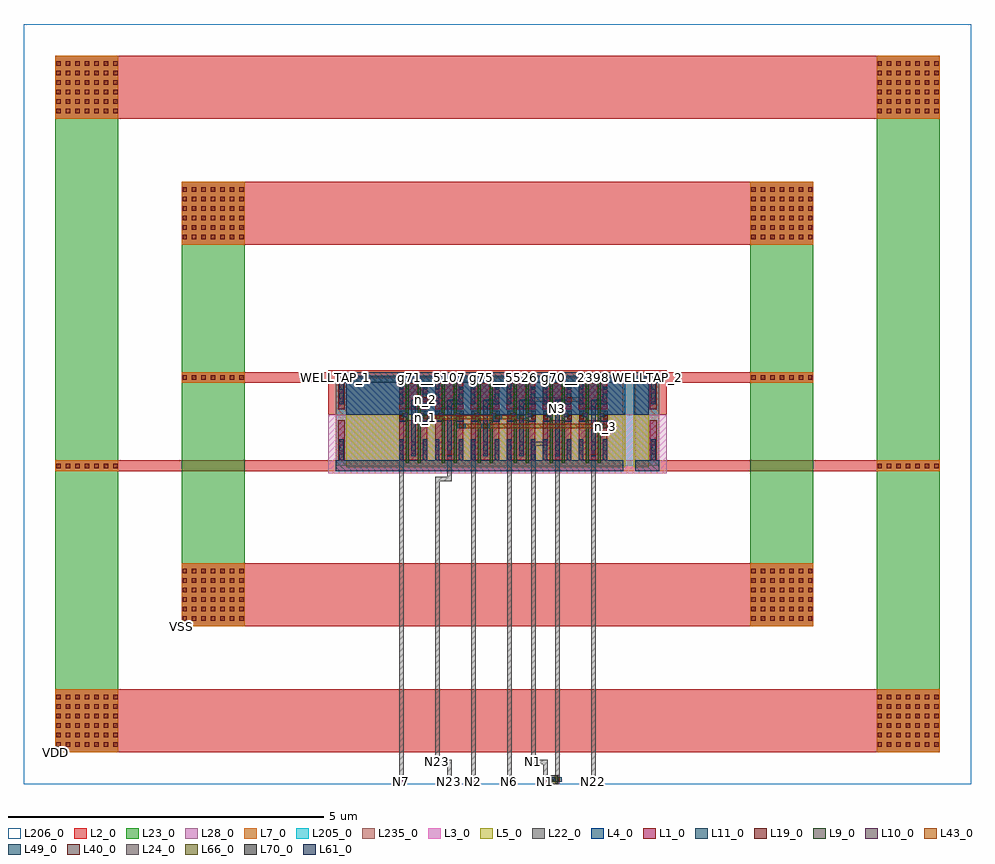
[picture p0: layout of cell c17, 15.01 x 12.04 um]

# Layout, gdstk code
import gdstk
lib = gdstk.Library(unit=1e-6, precision=1e-10)
def R(c, l, rs):  # rectangles x0, y0, x1, y1
    for r in rs: c.add(gdstk.rectangle(r[:2], r[2:], *l))
def A(c, l, x, y, w, h, nx, ny, dx, dy):  # array of equal rectangles
    R(c, l, [(x+i*dx, y+j*dy, x+i*dx+w, y+j*dy+h) for i in range(nx) for j in range(ny)])
def P(c, l, *ps):  # polygons
    for p in ps: c.add(gdstk.Polygon(p, *l))
L1_0 = (1, 0)
L2_0 = (2, 0)
L3_0 = (3, 0)
L4_0 = (4, 0)
L5_0 = (5, 0)
L7_0 = (7, 0)
L9_0 = (9, 0)
L10_0 = (10, 0)
L11_0 = (11, 0)
L19_0 = (19, 0)
L22_0 = (22, 0)
L23_0 = (23, 0)
L24_0 = (24, 0)
L28_0 = (28, 0)
L40_0 = (40, 0)
L43_0 = (43, 0)
L49_0 = (49, 0)
L61_0 = (61, 0)
L66_0 = (66, 0)
L70_0 = (70, 0)
L205_0 = (205, 0)
L206_0 = (206, 0)
L235_0 = (235, 0)

nand2_x1 = lib.new_cell('NAND2_X1')
R(nand2_x1, L1_0, [(0.055,0.09,0.505,0.505), (0.055,0.68,0.505,1.31)])
R(nand2_x1, L2_0, [(-0.115,-0.115,0.685,0.59)])
R(nand2_x1, L3_0, [(-0.115,0.59,0.685,1.515)])
R(nand2_x1, L4_0, [(-0.025,-0.025,0.595,0.59)])
R(nand2_x1, L5_0, [(-0.025,0.59,0.595,1.425)])
P(nand2_x1, L9_0, [(0.16,0.04),(0.16,0.555),(0.115,0.555),(0.115,0.63),(0.16,0.63),(0.16,1.36),(0.21,1.36),(0.21,0.04)],
  [(0.35,0.04),(0.35,1.36),(0.4,1.36),(0.4,0.63),(0.455,0.63),(0.455,0.555),(0.4,0.555),(0.4,0.04)])
R(nand2_x1, L10_0, [(0.06,0.185,0.125,0.25), (0.435,0.185,0.5,0.25), (0.06,0.325,0.125,0.39), (0.435,0.325,0.5,0.39), (0.12,0.56,0.185,0.625), (0.385,0.56,0.45,0.625), (0.06,1.01,0.125,1.075), (0.25,1.01,0.315,1.075), (0.435,1.01,0.5,1.075), (0.06,1.15,0.125,1.215), (0.25,1.15,0.315,1.215), (0.435,1.15,0.5,1.215)])
R(nand2_x1, L11_0, [(0.06,0.525,0.185,0.7), (0.385,0.525,0.51,0.7)])
P(nand2_x1, L11_0, [(0.43,0.15),(0.43,0.355),(0.25,0.355),(0.25,1.25),(0.32,1.25),(0.32,0.425),(0.5,0.425),(0.5,0.15)],
  [(0,-0.085),(0,0.085),(0.055,0.085),(0.055,0.425),(0.125,0.425),(0.125,0.085),(0.57,0.085),(0.57,-0.085)],
  [(0.055,0.975),(0.055,1.315),(0,1.315),(0,1.485),(0.57,1.485),(0.57,1.315),(0.5,1.315),(0.5,0.975),(0.43,0.975),(0.43,1.315),(0.125,1.315),(0.125,0.975)])
R(nand2_x1, L235_0, [(0,0,0.57,1.4)])
nand2_x1.add(gdstk.Label('A1', (0.475,0.63), layer=11, texttype=0))
nand2_x1.add(gdstk.Label('A2', (0.095,0.63), layer=11, texttype=0))
nand2_x1.add(gdstk.Label('VDD', (0.285,1.485), layer=11, texttype=0))
nand2_x1.add(gdstk.Label('VSS', (0.285,-0.085), layer=11, texttype=0))
nand2_x1.add(gdstk.Label('ZN', (0.285,0.49), layer=11, texttype=0))
nand2_x1.add(gdstk.Label('& Vendor Nangate Inc', (0,0), layer=63, texttype=63))
nand2_x1.add(gdstk.Label('& Product Open Cell Library', (0,0), layer=63, texttype=63))
nand2_x1.add(gdstk.Label('& Version 2010_12', (0,0), layer=63, texttype=63))
nand2_x1.add(gdstk.Label('& Instance NAND2_X1', (0,0), layer=63, texttype=63))

tapcell_x1 = lib.new_cell('TAPCELL_X1')
R(tapcell_x1, L1_0, [(0.04,0.09,0.145,0.505), (0.04,0.68,0.145,1.31)])
R(tapcell_x1, L2_0, [(-0.115,-0.115,0.305,0.59)])
R(tapcell_x1, L3_0, [(-0.115,0.59,0.305,1.515)])
R(tapcell_x1, L10_0, [(0.06,0.185,0.125,0.25), (0.06,0.325,0.125,0.39), (0.06,1.01,0.125,1.075), (0.06,1.15,0.125,1.215)])
P(tapcell_x1, L11_0, [(0,-0.085),(0,0.085),(0.06,0.085),(0.06,0.425),(0.13,0.425),(0.13,0.085),(0.19,0.085),(0.19,-0.085)],
  [(0.06,0.975),(0.06,1.315),(0,1.315),(0,1.485),(0.19,1.485),(0.19,1.315),(0.13,1.315),(0.13,0.975)])
R(tapcell_x1, L235_0, [(0,0,0.19,1.4)])
tapcell_x1.add(gdstk.Label('VDD', (0.19,1.485), layer=11, texttype=0))
tapcell_x1.add(gdstk.Label('VSS', (0.19,-0.085), layer=11, texttype=0))
tapcell_x1.add(gdstk.Label('& Vendor Nangate Inc', (0,0), layer=63, texttype=63))
tapcell_x1.add(gdstk.Label('& Product Open Cell Library', (0,0), layer=63, texttype=63))
tapcell_x1.add(gdstk.Label('& Version 2010_12', (0,0), layer=63, texttype=63))
tapcell_x1.add(gdstk.Label('& Instance TAPCELL_X1', (0,0), layer=63, texttype=63))

fillcell_x4 = lib.new_cell('FILLCELL_X4')
R(fillcell_x4, L2_0, [(-0.115,-0.115,0.875,0.59)])
R(fillcell_x4, L3_0, [(-0.115,0.59,0.875,1.515)])
R(fillcell_x4, L4_0, [(-0.025,-0.025,0.785,0.59)])
R(fillcell_x4, L5_0, [(-0.025,0.59,0.785,1.425)])
R(fillcell_x4, L11_0, [(0,-0.085,0.76,0.085), (0,1.315,0.76,1.485)])
R(fillcell_x4, L235_0, [(0,0,0.76,1.4)])
fillcell_x4.add(gdstk.Label('VDD', (0.38,1.485), layer=11, texttype=0))
fillcell_x4.add(gdstk.Label('VSS', (0.38,-0.085), layer=11, texttype=0))
fillcell_x4.add(gdstk.Label('& Vendor Nangate Inc', (0,0), layer=63, texttype=63))
fillcell_x4.add(gdstk.Label('& Product Open Cell Library', (0,0), layer=63, texttype=63))
fillcell_x4.add(gdstk.Label('& Version 2010_12', (0,0), layer=63, texttype=63))
fillcell_x4.add(gdstk.Label('& Instance FILLCELL_X4', (0,0), layer=63, texttype=63))

fillcell_x2 = lib.new_cell('FILLCELL_X2')
R(fillcell_x2, L2_0, [(-0.115,-0.115,0.305,0.59)])
R(fillcell_x2, L3_0, [(-0.115,0.59,0.305,1.515)])
R(fillcell_x2, L4_0, [(-0.025,-0.025,0.215,0.59)])
R(fillcell_x2, L5_0, [(-0.025,0.59,0.215,1.425)])
R(fillcell_x2, L11_0, [(0,-0.085,0.19,0.085), (0,1.315,0.19,1.485)])
R(fillcell_x2, L235_0, [(0,0,0.19,1.4)])
fillcell_x2.add(gdstk.Label('VDD', (0.095,1.485), layer=11, texttype=0))
fillcell_x2.add(gdstk.Label('VSS', (0.095,-0.085), layer=11, texttype=0))
fillcell_x2.add(gdstk.Label('& Vendor Nangate Inc', (0,0), layer=63, texttype=63))
fillcell_x2.add(gdstk.Label('& Product Open Cell Library', (0,0), layer=63, texttype=63))
fillcell_x2.add(gdstk.Label('& Version 2010_12', (0,0), layer=63, texttype=63))
fillcell_x2.add(gdstk.Label('& Instance FILLCELL_X2', (0,0), layer=63, texttype=63))

fillcell_x1 = lib.new_cell('FILLCELL_X1')
R(fillcell_x1, L2_0, [(-0.115,-0.115,0.305,0.59)])
R(fillcell_x1, L3_0, [(-0.115,0.59,0.305,1.515)])
R(fillcell_x1, L4_0, [(-0.025,-0.025,0.215,0.59)])
R(fillcell_x1, L5_0, [(-0.025,0.59,0.215,1.425)])
R(fillcell_x1, L11_0, [(0,-0.085,0.19,0.085), (0,1.315,0.19,1.485)])
R(fillcell_x1, L235_0, [(0,0,0.19,1.4)])
fillcell_x1.add(gdstk.Label('VDD', (0.095,1.485), layer=11, texttype=0))
fillcell_x1.add(gdstk.Label('VSS', (0.095,-0.085), layer=11, texttype=0))
fillcell_x1.add(gdstk.Label('& Vendor Nangate Inc', (0,0), layer=63, texttype=63))
fillcell_x1.add(gdstk.Label('& Product Open Cell Library', (0,0), layer=63, texttype=63))
fillcell_x1.add(gdstk.Label('& Version 2010_12', (0,0), layer=63, texttype=63))
fillcell_x1.add(gdstk.Label('& Instance FILLCELL_X1', (0,0), layer=63, texttype=63))

via1_7 = lib.new_cell('via1_7')
R(via1_7, L7_0, [(-0.07,-0.035,0.07,0.035)])
R(via1_7, L19_0, [(-0.035,-0.035,0.035,0.035)])
R(via1_7, L28_0, [(-0.035,-0.07,0.035,0.07)])

via1_4 = lib.new_cell('via1_4')
R(via1_4, L7_0, [(-0.035,-0.07,0.035,0.07)])
R(via1_4, L19_0, [(-0.035,-0.035,0.035,0.035)])
R(via1_4, L28_0, [(-0.035,-0.07,0.035,0.07)])

via3_2 = lib.new_cell('via3_2')
R(via3_2, L49_0, [(-0.07,-0.035,0.07,0.035)])
R(via3_2, L61_0, [(-0.035,-0.035,0.035,0.035)])
R(via3_2, L70_0, [(-0.07,-0.07,0.07,0.07)])

via2_5 = lib.new_cell('via2_5')
R(via2_5, L28_0, [(-0.035,-0.07,0.035,0.07)])
R(via2_5, L40_0, [(-0.035,-0.035,0.035,0.035)])
R(via2_5, L49_0, [(-0.07,-0.035,0.07,0.035)])

via1_8 = lib.new_cell('via1_8')
R(via1_8, L7_0, [(-0.07,-0.035,0.07,0.035)])
R(via1_8, L19_0, [(-0.035,-0.035,0.035,0.035)])
R(via1_8, L28_0, [(-0.07,-0.035,0.07,0.035)])

c17_via0 = lib.new_cell('c17_VIA0')
R(c17_via0, L7_0, [(-0.5,-0.5,0.5,0.5)])
A(c17_via0, L19_0, -0.485, -0.41, 0.07, 0.07, 7, 6, 0.15, 0.15)
R(c17_via0, L28_0, [(-0.5,-0.5,0.5,0.5)])

c17_via1 = lib.new_cell('c17_VIA1')
R(c17_via1, L7_0, [(-0.5,-0.085,0.5,0.085)])
A(c17_via1, L19_0, -0.485, -0.035, 0.07, 0.07, 7, 1, 0.15, 0)
R(c17_via1, L28_0, [(-0.5,-0.085,0.5,0.085)])

c17 = lib.new_cell('c17')
R(c17, L2_0, [(0.5,0.5,14.51,1.5), (2.5,2.5,12.51,3.5), (0.5,4.955,4.94,5.125), (4.94,4.955,10.07,5.125), (10.07,4.955,14.51,5.125), (2.5,6.355,4.94,6.525), (4.94,6.355,10.07,6.525), (10.07,6.355,12.51,6.525), (2.5,8.54,12.51,9.54), (0.5,10.54,14.51,11.54)])
R(c17, L23_0, [(0.5,0.5,1.5,11.54), (13.51,0.5,14.51,11.54), (2.5,2.5,3.5,9.54), (11.51,2.5,12.51,9.54)])
A(c17, L24_0, 7.09, 0, 0.07, 0.07, 3, 1, 0.57, 0)
R(c17, L24_0, [(5.95,0,6.02,0.07), (6.71,0,6.78,0.07), (8.99,0,9.06,0.07)])
R(c17, L66_0, [(8.325,0,8.465,0.14)])
A(c17, L205_0, 5.89, 5.04, 0.57, 1.4, 6, 1, 0.57, 0)
R(c17, L205_0, [(4.94,5.04,5.13,6.44), (5.13,5.04,5.89,6.44), (9.31,5.04,9.69,6.44), (9.69,5.04,9.88,6.44), (9.88,5.04,10.07,6.44)])
R(c17, L206_0, [(0,0,15.01,12.04)])
c17.add(gdstk.FlexPath([(8.075,0.35),(8.075,5.39)], 0.07, ends="extended", simple_path=True, layer=22, datatype=0))  # L22_0
c17.add(gdstk.FlexPath([(8.075,0.35),(8.265,0.35)], 0.07, ends="extended", simple_path=True, layer=22, datatype=0))  # L22_0
c17.add(gdstk.FlexPath([(8.075,5.39),(8.265,5.39)], 0.07, ends="extended", simple_path=True, layer=22, datatype=0))  # L22_0
c17.add(gdstk.FlexPath([(8.265,0.035),(8.265,0.35)], 0.07, ends=(0, 0.035), simple_path=True, layer=22, datatype=0))  # L22_0
c17.add(gdstk.FlexPath([(8.265,5.39),(8.265,5.81)], 0.07, ends="extended", simple_path=True, layer=22, datatype=0))  # L22_0
c17.add(gdstk.FlexPath([(7.125,0.035),(7.125,5.81)], 0.07, ends=(0, 0.035), simple_path=True, layer=22, datatype=0))  # L22_0
c17.add(gdstk.FlexPath([(8.455,5.95),(8.645,5.95)], 0.07, ends="extended", simple_path=True, layer=22, datatype=0))  # L22_0
c17.add(gdstk.FlexPath([(8.455,0.07),(8.455,5.95)], 0.07, ends="extended", simple_path=True, layer=22, datatype=0))  # L22_0
c17.add(gdstk.FlexPath([(8.395,0.07),(8.455,0.07)], 0.07, ends="extended", simple_path=True, layer=43, datatype=0))  # L43_0
c17.add(gdstk.FlexPath([(8.075,5.81),(8.075,6.09)], 0.07, ends="extended", simple_path=True, layer=22, datatype=0))  # L22_0
c17.add(gdstk.FlexPath([(8.075,6.09),(8.455,6.09)], 0.07, ends="extended", simple_path=True, layer=22, datatype=0))  # L22_0
c17.add(gdstk.FlexPath([(8.455,5.95),(8.455,6.09)], 0.07, ends="extended", simple_path=True, layer=22, datatype=0))  # L22_0
c17.add(gdstk.FlexPath([(8.645,5.81),(8.645,5.95)], 0.07, ends="extended", simple_path=True, layer=22, datatype=0))  # L22_0
c17.add(gdstk.FlexPath([(7.695,0.035),(7.695,5.81)], 0.07, ends=(0, 0.035), simple_path=True, layer=22, datatype=0))  # L22_0
c17.add(gdstk.FlexPath([(5.985,0.035),(5.985,5.81)], 0.07, ends=(0, 0.035), simple_path=True, layer=22, datatype=0))  # L22_0
c17.add(gdstk.FlexPath([(9.025,0.035),(9.025,5.25)], 0.07, ends=(0, 0.035), simple_path=True, layer=22, datatype=0))  # L22_0
c17.add(gdstk.FlexPath([(6.555,0.35),(6.745,0.35)], 0.07, ends="extended", simple_path=True, layer=22, datatype=0))  # L22_0
c17.add(gdstk.FlexPath([(6.555,0.35),(6.555,4.83)], 0.07, ends="extended", simple_path=True, layer=22, datatype=0))  # L22_0
c17.add(gdstk.FlexPath([(6.555,4.83),(6.745,4.83)], 0.07, ends="extended", simple_path=True, layer=22, datatype=0))  # L22_0
c17.add(gdstk.FlexPath([(6.745,0.035),(6.745,0.35)], 0.07, ends=(0, 0.035), simple_path=True, layer=22, datatype=0))  # L22_0
c17.add(gdstk.FlexPath([(6.745,4.83),(6.745,5.25)], 0.07, ends="extended", simple_path=True, layer=22, datatype=0))  # L22_0
c17.add(gdstk.FlexPath([(8.645,6.09),(8.835,6.09)], 0.07, ends="extended", simple_path=True, layer=22, datatype=0))  # L22_0
c17.add(gdstk.FlexPath([(8.835,5.81),(8.835,6.09)], 0.07, ends="extended", simple_path=True, layer=22, datatype=0))  # L22_0
c17.add(gdstk.FlexPath([(6.365,5.81),(7.505,5.81)], 0.07, ends="extended", simple_path=True, layer=43, datatype=0))  # L43_0
c17.add(gdstk.FlexPath([(7.505,5.81),(7.885,5.81)], 0.07, ends="extended", simple_path=True, layer=43, datatype=0))  # L43_0
c17.add(gdstk.FlexPath([(6.365,6.09),(6.555,6.09)], 0.07, ends="extended", simple_path=True, layer=22, datatype=0))  # L22_0
c17.add(gdstk.FlexPath([(6.555,5.81),(6.555,6.09)], 0.07, ends="extended", simple_path=True, layer=22, datatype=0))  # L22_0
c17.add(gdstk.FlexPath([(9.215,5.67),(9.215,5.81)], 0.07, ends="extended", simple_path=True, layer=22, datatype=0))  # L22_0
c17.add(gdstk.FlexPath([(7.315,5.67),(9.215,5.67)], 0.07, ends="extended", simple_path=True, layer=43, datatype=0))  # L43_0
c17.add(gdstk.FlexPath([(6.935,5.67),(6.935,5.81)], 0.07, ends="extended", simple_path=True, layer=22, datatype=0))  # L22_0
c17.add(gdstk.FlexPath([(6.935,5.67),(7.315,5.67)], 0.07, ends="extended", simple_path=True, layer=43, datatype=0))  # L43_0
c17.add(gdstk.Reference(nand2_x1, (8.74,6.44), x_reflection=True))
c17.add(gdstk.Reference(nand2_x1, (6.46,6.44), x_reflection=True))
c17.add(gdstk.Reference(nand2_x1, (7.03,6.44), x_reflection=True))
c17.add(gdstk.Reference(nand2_x1, (5.89,6.44), x_reflection=True))
c17.add(gdstk.Reference(nand2_x1, (8.17,6.44), x_reflection=True))
c17.add(gdstk.Reference(nand2_x1, (7.6,6.44), x_reflection=True))
c17.add(gdstk.Reference(tapcell_x1, (4.94,6.44), x_reflection=True))
c17.add(gdstk.Reference(tapcell_x1, (9.88,6.44), x_reflection=True))
c17.add(gdstk.Reference(fillcell_x4, (5.13,6.44), x_reflection=True))
c17.add(gdstk.Reference(fillcell_x2, (9.31,6.44), x_reflection=True))
c17.add(gdstk.Reference(fillcell_x1, (9.69,6.44), x_reflection=True))
c17.add(gdstk.Reference(via1_7, (8.265,5.81)))
c17.add(gdstk.Reference(via1_4, (7.125,5.81)))
c17.add(gdstk.Reference(via1_4, (8.075,5.81)))
c17.add(gdstk.Reference(via3_2, (8.395,0.07)))
c17.add(gdstk.Reference(via2_5, (8.455,0.07)))
c17.add(gdstk.Reference(via1_4, (8.645,5.81)))
c17.add(gdstk.Reference(via1_4, (7.695,5.81)))
c17.add(gdstk.Reference(via1_7, (5.985,5.81)))
c17.add(gdstk.Reference(via1_7, (9.025,5.25)))
c17.add(gdstk.Reference(via1_7, (6.745,5.25)))
c17.add(gdstk.Reference(via1_8, (8.645,6.09)))
c17.add(gdstk.Reference(via1_7, (8.835,5.81)))
c17.add(gdstk.Reference(via1_4, (6.365,5.81)))
c17.add(gdstk.Reference(via2_5, (6.365,5.81)))
c17.add(gdstk.Reference(via1_7, (7.505,5.81)))
c17.add(gdstk.Reference(via2_5, (7.505,5.81)))
c17.add(gdstk.Reference(via1_4, (7.885,5.81)))
c17.add(gdstk.Reference(via2_5, (7.885,5.81)))
c17.add(gdstk.Reference(via1_8, (6.365,6.09)))
c17.add(gdstk.Reference(via1_7, (6.555,5.81)))
c17.add(gdstk.Reference(via2_5, (6.935,5.67)))
c17.add(gdstk.Reference(via1_7, (6.935,5.81)))
c17.add(gdstk.Reference(via1_4, (7.315,5.67)))
c17.add(gdstk.Reference(via2_5, (7.315,5.67)))
c17.add(gdstk.Reference(via2_5, (9.215,5.67)))
c17.add(gdstk.Reference(via1_7, (9.215,5.81)))
c17.add(gdstk.Reference(c17_via0, (3,3)))
c17.add(gdstk.Reference(c17_via0, (3,9.04)))
c17.add(gdstk.Reference(c17_via0, (12.01,3)))
c17.add(gdstk.Reference(c17_via0, (12.01,9.04)))
c17.add(gdstk.Reference(c17_via1, (12.01,6.44)))
c17.add(gdstk.Reference(c17_via1, (3,6.44)))
c17.add(gdstk.Reference(c17_via0, (1,1)))
c17.add(gdstk.Reference(c17_via0, (1,11.04)))
c17.add(gdstk.Reference(c17_via0, (14.01,1)))
c17.add(gdstk.Reference(c17_via0, (14.01,11.04)))
c17.add(gdstk.Reference(c17_via1, (1,5.04)))
c17.add(gdstk.Reference(c17_via1, (14.01,5.04)))
c17.add(gdstk.Label('g70__2398', (8.74,6.44), layer=204, texttype=0))
c17.add(gdstk.Label('g71__5107', (6.46,6.44), layer=204, texttype=0))
c17.add(gdstk.Label('g72__6260', (7.03,6.44), layer=204, texttype=0))
c17.add(gdstk.Label('g73__4319', (5.89,6.44), layer=204, texttype=0))
c17.add(gdstk.Label('g74__8428', (8.17,6.44), layer=204, texttype=0))
c17.add(gdstk.Label('g75__5526', (7.6,6.44), layer=204, texttype=0))
c17.add(gdstk.Label('WELLTAP_1', (4.94,6.44), layer=204, texttype=0))
c17.add(gdstk.Label('WELLTAP_2', (9.88,6.44), layer=204, texttype=0))
c17.add(gdstk.Label('FILLER__1_1', (5.13,6.44), layer=204, texttype=0))
c17.add(gdstk.Label('FILLER__1_2', (9.31,6.44), layer=204, texttype=0))
c17.add(gdstk.Label('FILLER__1_3', (9.69,6.44), layer=204, texttype=0))
c17.add(gdstk.Label('N1', (8.265,0.035), layer=34, texttype=0))
c17.add(gdstk.Label('N2', (7.125,0.035), layer=34, texttype=0))
c17.add(gdstk.Label('N3', (8.395,0.07), layer=76, texttype=0))
c17.add(gdstk.Label('N6', (7.695,0.035), layer=34, texttype=0))
c17.add(gdstk.Label('N7', (5.985,0.035), layer=34, texttype=0))
c17.add(gdstk.Label('N22', (9.025,0.035), layer=34, texttype=0))
c17.add(gdstk.Label('N23', (6.745,0.035), layer=34, texttype=0))
c17.add(gdstk.Label('N1', (8.075,0.35), layer=32, texttype=0))
c17.add(gdstk.Label('N2', (7.125,0.035), layer=32, texttype=0))
c17.add(gdstk.Label('N3', (8.455,5.95), layer=32, texttype=0))
c17.add(gdstk.Label('N6', (7.695,0.035), layer=32, texttype=0))
c17.add(gdstk.Label('N7', (5.985,0.035), layer=32, texttype=0))
c17.add(gdstk.Label('N22', (9.025,0.035), layer=32, texttype=0))
c17.add(gdstk.Label('N23', (6.555,0.35), layer=32, texttype=0))
c17.add(gdstk.Label('n_0', (8.645,6.09), layer=32, texttype=0))
c17.add(gdstk.Label('n_1', (6.365,5.81), layer=32, texttype=0))
c17.add(gdstk.Label('n_2', (6.365,6.09), layer=32, texttype=0))
c17.add(gdstk.Label('n_3', (9.215,5.67), layer=32, texttype=0))
c17.add(gdstk.Label('VSS', (2.5,2.5), layer=33, texttype=0))
c17.add(gdstk.Label('VDD', (0.5,0.5), layer=33, texttype=0))

lib.write_gds('c17.gds')
